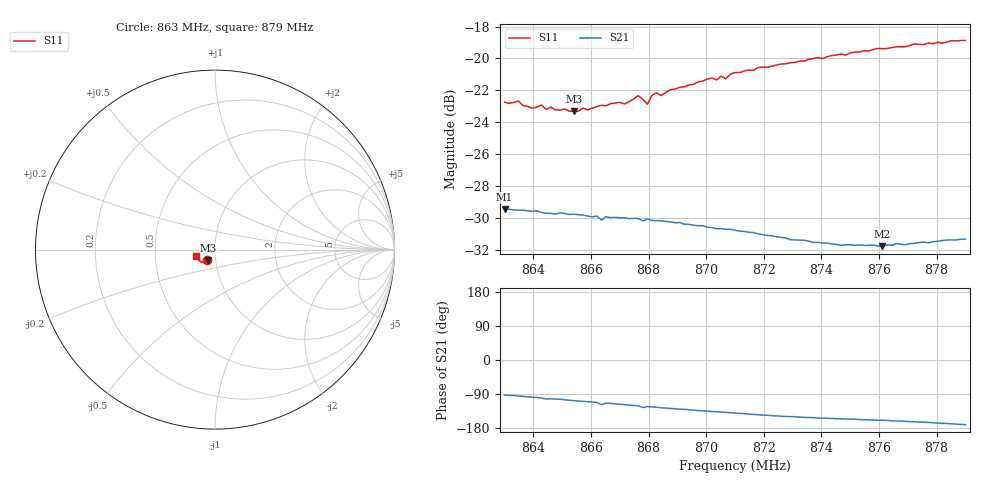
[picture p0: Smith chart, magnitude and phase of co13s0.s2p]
# HZ S RI R 50
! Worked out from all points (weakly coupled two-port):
!   101 points, 863 MHz to 879 MHz, reference 50 ohm
!   highest |S21| = -29.45 dB at 863 MHz (marker M1); lowest = -31.8 dB at 876.12 MHz (marker M2)
!   lowest |S11| = -23.3 dB at 865.4 MHz (marker M3), VSWR 1.15, Z = 46.1 - j5.33 ohm
!   |S11| at or under -10 dB: start of sweep to end of sweep
!   S12 and S22 are empty: the file has one direction only
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8.63e8  -0.0453 -0.0572  -0.00128 -0.0336  0 0  0 0
8.6348e8  -0.0459 -0.0574  -0.00306 -0.0333  0 0  0 0
8.6396e8  -0.0422 -0.0556  -0.00457 -0.0328  0 0  0 0
8.6428e8  -0.0413 -0.0582  -0.00592 -0.0323  0 0  0 0
8.6444e8  -0.0411 -0.0557  -0.00732 -0.0319  0 0  0 0
8.654e8  -0.0369 -0.0575  -0.0096 -0.031  0 0  0 0
8.6572e8  -0.0372 -0.0591  -0.0106 -0.0305  0 0  0 0
8.662e8  -0.0375 -0.0598  -0.0118 -0.0298  0 0  0 0
8.6636e8  -0.0376 -0.0606  -0.0146 -0.0275  0 0  0 0
8.6652e8  -0.0363 -0.061  -0.0129 -0.0291  0 0  0 0
8.6716e8  -0.036 -0.0624  -0.0148 -0.028  0 0  0 0
8.6764e8  -0.0388 -0.0658  -0.016 -0.0271  0 0  0 0
8.6796e8  -0.0393 -0.0601  -0.0171 -0.0263  0 0  0 0
8.6812e8  -0.0392 -0.066  -0.0172 -0.0258  0 0  0 0
8.6844e8  -0.0389 -0.0658  -0.0183 -0.025  0 0  0 0
8.7004e8  -0.0474 -0.072  -0.0208 -0.0209  0 0  0 0
8.7068e8  -0.0488 -0.0713  -0.0217 -0.0194  0 0  0 0
8.71e8  -0.053 -0.0732  -0.0221 -0.0186  0 0  0 0
8.7372e8  -0.0705 -0.0709  -0.0234 -0.0124  0 0  0 0
8.7612e8  -0.0891 -0.0599  -0.0241 -0.00921  0 0  0 0
8.7644e8  -0.0915 -0.0578  -0.0244 -0.00872  0 0  0 0
8.79e8  -0.1078 -0.0366  -0.0268 -0.00436  0 0  0 0
